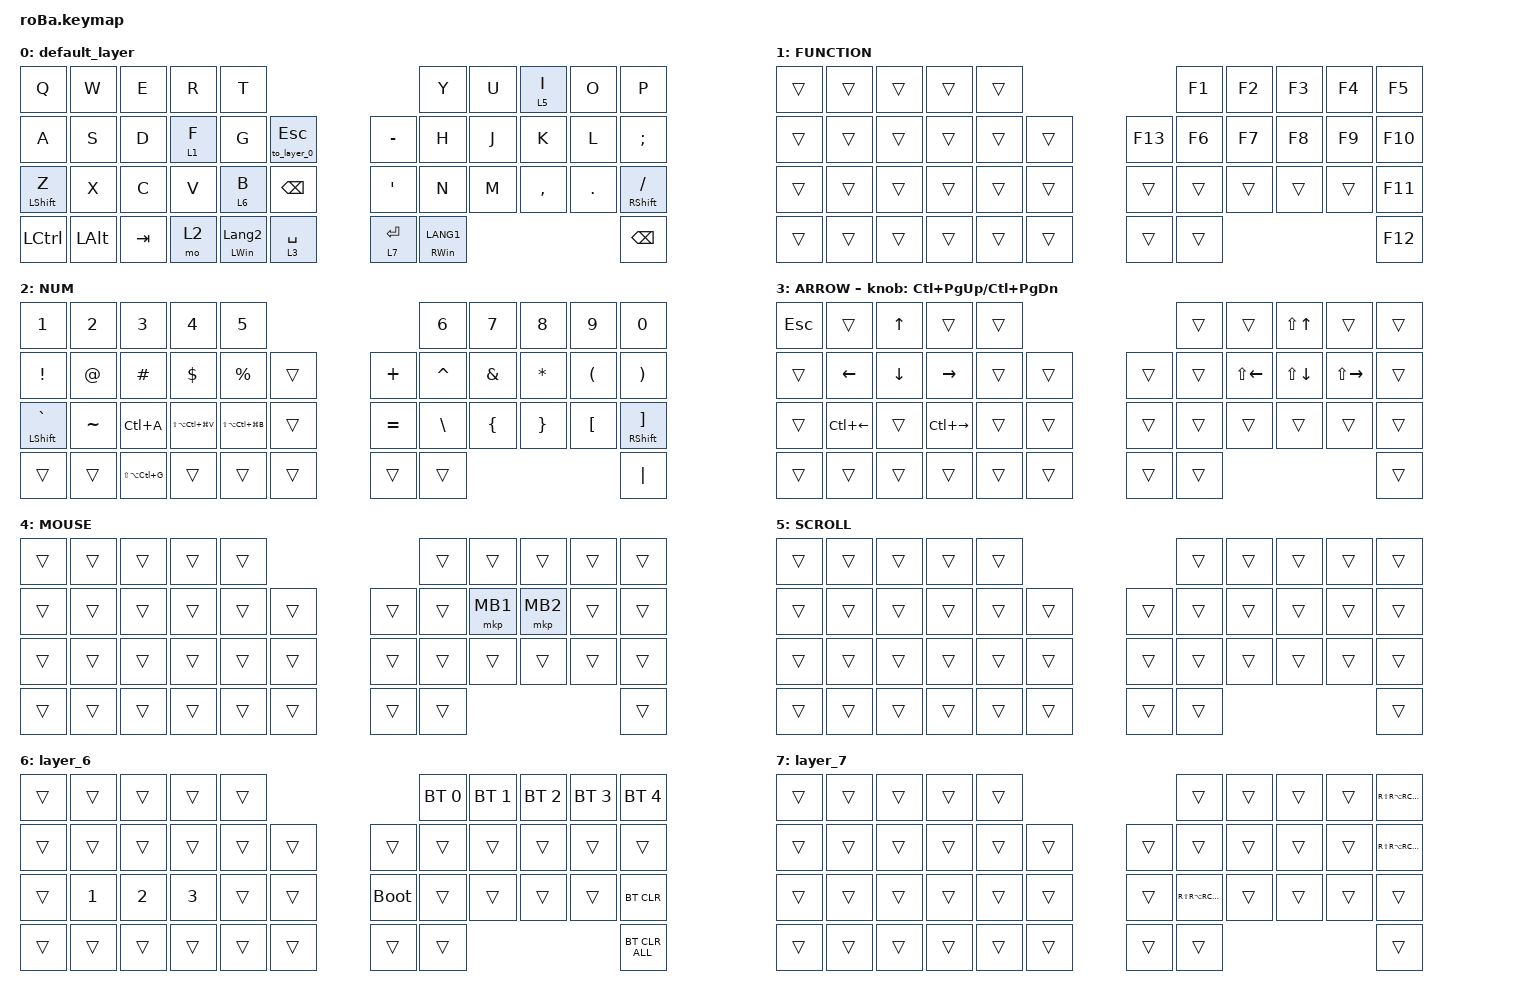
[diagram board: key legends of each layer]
#include <behaviors.dtsi>
#include <dt-bindings/zmk/bt.h>
#include <dt-bindings/zmk/keys.h>
#include <dt-bindings/zmk/pointing.h>

&mt {
    flavor = "balanced";
    quick-tap-ms = <0>;
};

&trackball {
    automouse-layer = <4>;
    scroll-layers = <5>;

    // arrows {
    //     layers = <3>;
    //     bindings =
    //         <&kp RIGHT_ARROW>,
    //         <&kp LEFT_ARROW>,
    //         <&kp UP_ARROW>,
    //         <&kp DOWN_ARROW>;
    //     tick = <10>;
    //     wait-ms = <5>;
    //     tap-ms = <5>;
    // };
};

/ {
    combos {
        compatible = "zmk,combos";

        tab {
            bindings = <&kp TAB>;
            key-positions = <11 12>;
        };

        shift-tab {
            bindings = <&kp LS(TAB)>;
            key-positions = <12 13>;
        };

        backspace {
            bindings = <&kp BACKSPACE>;
            key-positions = <19 20>;
        };
    };

    macros {
        to_layer_0: to_layer_0 {
            compatible = "zmk,behavior-macro-one-param";
            #binding-cells = <1>;
            bindings = <&to 0 &macro_param_1to1 &kp MACRO_PLACEHOLDER>;
            label = "TO_LAYER_0";
        };
    };

    behaviors {
        lt_to_layer_0: lt_to_layer_0 {
            compatible = "zmk,behavior-hold-tap";
            label = "LAYER_TAP_TO_0";
            bindings = <&mo>, <&to_layer_0>;

            #binding-cells = <2>;
            tapping-term-ms = <200>;
        };

        mt_to_layer_0: mt_to_layer_0 {
            compatible = "zmk,behavior-hold-tap";
            label = "MT_TO_LAYER_0";
            bindings = <&kp>, <&to_layer_0>;

            #binding-cells = <2>;
            tapping-term-ms = <200>;
        };
    };

    keymap {
        compatible = "zmk,keymap";

        default_layer {
            bindings = <
&kp Q             &kp W         &kp E    &kp R    &kp T                                                                        &kp Y                           &kp U  &lt 5 I    &kp O    &kp P
&kp A             &kp S         &kp D    &lt 1 F  &kp G                               &to_layer_0 ESCAPE          &kp MINUS    &kp H                           &kp J  &kp K      &kp L    &kp SEMICOLON
&mt LEFT_SHIFT Z  &kp X         &kp C    &kp V    &lt 6 B                             &kp BACKSPACE               &kp SQT      &kp N                           &kp M  &kp COMMA  &kp DOT  &mt RIGHT_SHIFT SLASH
&kp LCTRL         &kp LEFT_ALT  &kp TAB  &mo 2    &mt_to_layer_0 LEFT_WIN LANGUAGE_2  &lt_to_layer_0 3 SPACE      &lt 7 ENTER  &mt_to_layer_0 RIGHT_WIN LANG1                             &kp BACKSPACE
            >;
        };

        FUNCTION {
            bindings = <
&trans  &trans  &trans  &trans  &trans                       &kp F1  &kp F2  &kp F3  &kp F4  &kp F5
&trans  &trans  &trans  &trans  &trans  &trans      &kp F13  &kp F6  &kp F7  &kp F8  &kp F9  &kp F10
&trans  &trans  &trans  &trans  &trans  &trans      &trans   &trans  &trans  &trans  &trans  &kp F11
&trans  &trans  &trans  &trans  &trans  &trans      &trans   &trans                          &kp F12
            >;
        };

        NUM {
            bindings = <
&kp NUMBER_1          &kp NUMBER_2  &kp NUMBER_3       &kp NUMBER_4           &kp N5                                        &kp NUMBER_6   &kp N7          &kp N8           &kp N9                &kp N0
&kp EXCLAMATION       &kp AT_SIGN   &kp HASH           &kp DOLLAR             &kp PERCENT            &trans      &kp PLUS   &kp CARET      &kp AMPERSAND   &kp ASTERISK     &kp LEFT_PARENTHESIS  &kp RIGHT_PARENTHESIS
&mt LEFT_SHIFT GRAVE  &kp TILDE     &kp LC(A)          &kp LS(LA(LC(LG(V))))  &kp LS(LA(LC(LG(B))))  &trans      &kp EQUAL  &kp BACKSLASH  &kp LEFT_BRACE  &kp RIGHT_BRACE  &kp LEFT_BRACKET      &mt RIGHT_SHIFT RIGHT_BRACKET
&trans                &trans        &kp LS(LA(LC(G)))  &trans                 &trans                 &trans      &trans     &trans                                                                &kp PIPE
            >;
        };

        ARROW {
            bindings = <
&kp ESCAPE  &trans              &kp UP_ARROW    &trans               &trans                      &trans  &trans              &kp LS(UP_ARROW)    &trans               &trans
&trans      &kp LEFT_ARROW      &kp DOWN_ARROW  &kp RIGHT_ARROW      &trans  &trans      &trans  &trans  &kp LS(LEFT_ARROW)  &kp LS(DOWN_ARROW)  &kp LS(RIGHT_ARROW)  &trans
&trans      &kp LC(LEFT_ARROW)  &trans          &kp LC(RIGHT_ARROW)  &trans  &trans      &trans  &trans  &trans              &trans              &trans               &trans
&trans      &trans              &trans          &trans               &trans  &trans      &trans  &trans                                                               &trans
            >;

            sensor-bindings = <&inc_dec_kp LC(PAGE_UP) LC(PAGE_DOWN)>;
        };

        MOUSE {
            bindings = <
&trans  &trans  &trans  &trans  &trans                      &trans  &trans    &trans    &trans  &trans
&trans  &trans  &trans  &trans  &trans  &trans      &trans  &trans  &mkp MB1  &mkp MB2  &trans  &trans
&trans  &trans  &trans  &trans  &trans  &trans      &trans  &trans  &trans    &trans    &trans  &trans
&trans  &trans  &trans  &trans  &trans  &trans      &trans  &trans                              &trans
            >;
        };

        SCROLL {
            bindings = <
&trans  &trans  &trans  &trans  &trans                      &trans  &trans  &trans  &trans  &trans
&trans  &trans  &trans  &trans  &trans  &trans      &trans  &trans  &trans  &trans  &trans  &trans
&trans  &trans  &trans  &trans  &trans  &trans      &trans  &trans  &trans  &trans  &trans  &trans
&trans  &trans  &trans  &trans  &trans  &trans      &trans  &trans                          &trans
            >;
        };

        layer_6 {
            bindings = <
&trans  &trans        &trans        &trans        &trans                           &bt BT_SEL 0  &bt BT_SEL 1  &bt BT_SEL 2  &bt BT_SEL 3  &bt BT_SEL 4
&trans  &trans        &trans        &trans        &trans  &trans      &trans       &trans        &trans        &trans        &trans        &trans
&trans  &kp NUMBER_1  &kp NUMBER_2  &kp NUMBER_3  &trans  &trans      &bootloader  &trans        &trans        &trans        &trans        &bt BT_CLR
&trans  &trans        &trans        &trans        &trans  &trans      &trans       &trans                                                  &bt BT_CLR_ALL
            >;
        };

        layer_7 {
            bindings = <
&trans  &trans  &trans  &trans  &trans                      &trans                 &trans  &trans  &trans  &kp RS(RA(RC(RG(P))))
&trans  &trans  &trans  &trans  &trans  &trans      &trans  &trans                 &trans  &trans  &trans  &kp RS(RA(RC(RG(SEMICOLON))))
&trans  &trans  &trans  &trans  &trans  &trans      &trans  &kp RS(RA(RC(RG(N))))  &trans  &trans  &trans  &trans
&trans  &trans  &trans  &trans  &trans  &trans      &trans  &trans                                         &trans
            >;
        };
    };
};
